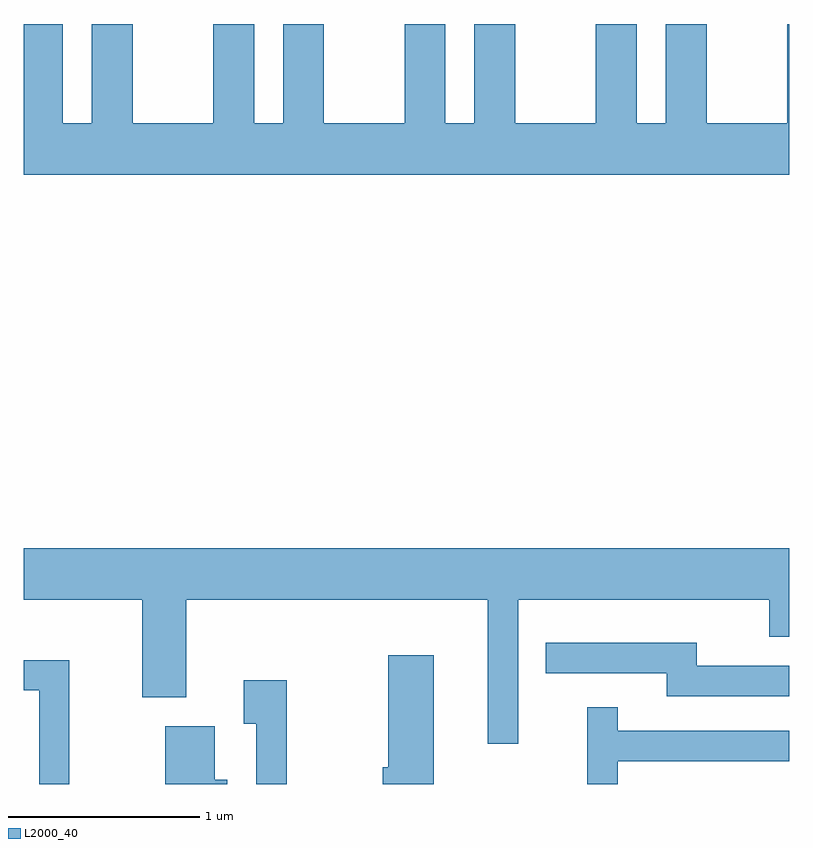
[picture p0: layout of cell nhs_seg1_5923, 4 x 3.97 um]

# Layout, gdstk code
import gdstk
lib = gdstk.Library(unit=1e-6, precision=1e-09)
def P(c, l, *ps):  # polygons
    for p in ps: c.add(gdstk.Polygon(p, *l))
L2000_40 = (2000, 40)

nhs_seg1_5923 = lib.new_cell('nhs_seg1_5923')
P(nhs_seg1_5923, L2000_40, [(367.611,913.684),(367.601,913.684),(367.601,913.164),(367.179,913.164),(367.179,913.684),(366.966,913.684),(366.966,913.164),(366.814,913.164),(366.814,913.684),(366.601,913.684),(366.601,913.164),(366.179,913.164),(366.179,913.684),(365.966,913.684),(365.966,913.164),(365.814,913.164),(365.814,913.684),(365.601,913.684),(365.601,913.164),(365.179,913.164),(365.179,913.684),(364.966,913.684),(364.966,913.164),(364.814,913.164),(364.814,913.684),(364.601,913.684),(364.601,913.164),(364.179,913.164),(364.179,913.684),(363.966,913.684),(363.966,913.164),(363.814,913.164),(363.814,913.684),(363.611,913.684),(363.611,912.896),(367.611,912.896)],
  [(366.194,910.676),(367.506,910.676),(367.506,910.481),(367.611,910.481),(367.611,910.944),(363.611,910.944),(363.611,910.676),(364.231,910.676),(364.231,910.166),(364.459,910.166),(364.459,910.676),(366.036,910.676),(366.036,909.923),(366.194,909.923)],
  [(367.611,910.329),(367.129,910.329),(367.129,910.449),(366.338,910.449),(366.338,910.291),(366.971,910.291),(366.971,910.171),(367.611,910.171)],
  [(365.754,910.384),(365.516,910.384),(365.516,909.799),(365.486,909.799),(365.486,909.712),(365.754,909.712)],
  [(363.849,910.359),(363.611,910.359),(363.611,910.201),(363.691,910.201),(363.691,909.712),(363.849,909.712)],
  [(364.984,910.254),(364.761,910.254),(364.761,910.026),(364.826,910.026),(364.826,909.712),(364.984,909.712)],
  [(366.714,909.831),(367.611,909.831),(367.611,909.989),(366.714,909.989),(366.714,910.113),(366.556,910.113),(366.556,909.712),(366.714,909.712)],
  [(364.674,909.734),(364.609,909.734),(364.609,910.014),(364.351,910.014),(364.351,909.712),(364.674,909.712)])

lib.write_gds('nhs_seg1_5923.gds')
